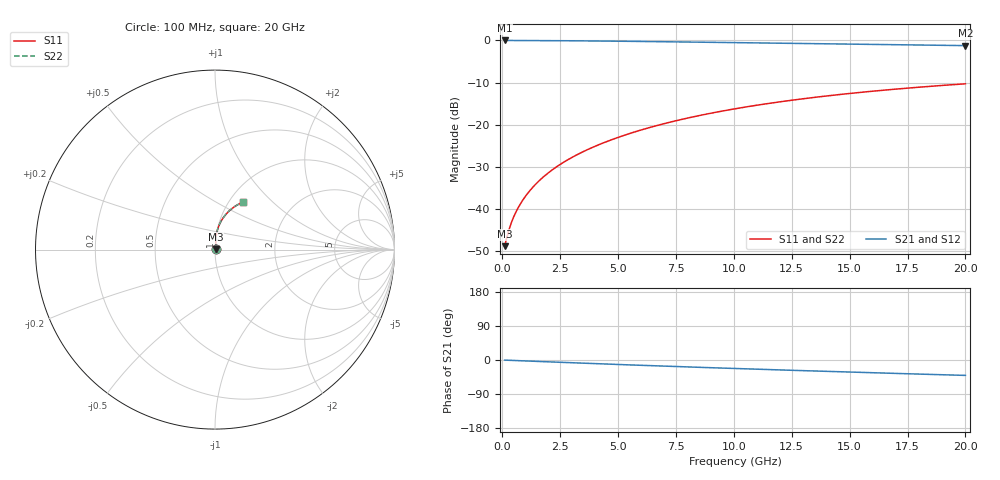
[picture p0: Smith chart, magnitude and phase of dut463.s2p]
! Touchstone file exported from HFSS 2024.1.0
!  File:  C:/UserFiles/LocalFiles/RDL_TSV_Batchsim/temp_RDL_top_463_1779677634.aedt
!  Generated:  10:55:52 AM May 25, 2026
!  Design:  RDL_top
!  Project:  temp_RDL_top_463_1779677634
!  Setup:  Setup1
!  Solution:  Sweep
! Variables:
!  dtsv = 10.80580581um
!  hbump = 3um
!  htsv = 93.53um
!  ldown = 100um
!  lrdl = 622.86um
!  p = 40
!  p1 = 42.89um
!  rhole = 1um
!  t = 450um
!  tdown = 3.915915916um
!  trdl = 3.04um
!  wdown = 15.38538539um
!  wrdl = 24.04um
# GHz S MA R 50.000000
! Terminal data exported
! Port[1] = Box2_T1
! Port[2] = Box2_T2
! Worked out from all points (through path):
!   200 points, 100 MHz to 20 GHz, reference 50 ohm
!   highest |S21| = -0.03 dB at 100 MHz (marker M1); lowest = -1.3 dB at 20 GHz (marker M2)
!   group delay of S21, straight-line fit = 5.59 ps
!   lowest |S11| = -48.8 dB at 100 MHz (marker M3), VSWR 1.01, Z = 50.3 + j0.161 ohm
!   |S11| at or under -10 dB: start of sweep to end of sweep
!   |S22| runs from -48.8 to -10.3 dB; largest |S21 - S12| = 2.1e-15
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0.1  0.003635 26.2  0.9967 -0.3  0.9967 -0.3  0.003635 26.2
! Gamma 0 0 0 0
! Port Impedance 50 0 50 0
0.3  0.00581 51.2  0.9963 -0.8  0.9963 -0.8  0.00581 51.2
0.4  0.006993 56.9  0.996 -1.0  0.996 -1.0  0.006994 56.9
0.5  0.008172 61.1  0.9958 -1.3  0.9958 -1.3  0.008172 61.1
0.6  0.009351 64.3  0.9956 -1.5  0.9956 -1.5  0.009351 64.3
0.8  0.01174 69.2  0.9952 -2.0  0.9952 -2.0  0.01174 69.2
1  0.01417 72.6  0.9948 -2.5  0.9948 -2.5  0.01417 72.6
1.2  0.01667 75.2  0.9944 -2.9  0.9944 -2.9  0.01667 75.2
1.7  0.02309 79.4  0.9931 -4.2  0.9931 -4.2  0.02309 79.4
2.2  0.02974 81.9  0.9914 -5.3  0.9914 -5.3  0.02975 81.9
2.8  0.03801 83.6  0.989 -6.8  0.989 -6.8  0.03802 83.6
3.5  0.04802 84.7  0.9856 -8.4  0.9856 -8.4  0.04803 84.7
4.2  0.05842 85.2  0.9817 -10.0  0.9817 -10.0  0.05844 85.2
5  0.07074 85.2  0.9768 -11.8  0.9768 -11.8  0.07078 85.2
5.9  0.08508 84.7  0.9707 -13.8  0.9707 -13.8  0.08514 84.7
6.8  0.09981 83.8  0.9643 -15.8  0.9643 -15.8  0.09989 83.8
8.4  0.1266 81.5  0.9523 -19.1  0.9523 -19.1  0.1267 81.6
10.1  0.1553 78.6  0.9393 -22.5  0.9393 -22.5  0.1555 78.7
11.7  0.182 75.6  0.9271 -25.6  0.9271 -25.6  0.1822 75.6
13.4  0.2096 72.3  0.9142 -28.9  0.9142 -28.9  0.2098 72.3
16.7  0.26 65.9  0.8897 -34.9  0.8897 -34.9  0.2603 65.9
20  0.3053 59.7  0.8659 -40.6  0.8659 -40.6  0.3057 59.7
